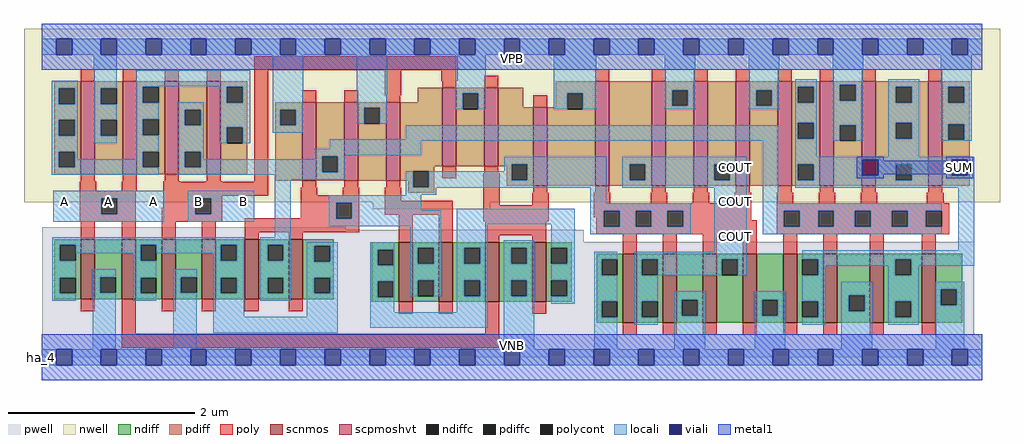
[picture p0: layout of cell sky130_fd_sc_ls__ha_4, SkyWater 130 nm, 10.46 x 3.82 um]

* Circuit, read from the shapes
.subckt sky130_fd_sc_ls__ha_4 A B VGND VNB VPB VPWR COUT SUM
XM1 VGND A n1 VNB sky130_fd_pr__nfet_01v8 w=0.64 l=0.15 m=2
XM2 VGND B n1 VNB sky130_fd_pr__nfet_01v8 w=0.64 l=0.15 m=2
XM3 n2 n3 n1 VNB sky130_fd_pr__nfet_01v8 w=0.64 l=0.15 m=2
XM4 n3 B n4 VNB sky130_fd_pr__nfet_01v8 w=0.64 l=0.15 m=2
XM5 VGND A n4 VNB sky130_fd_pr__nfet_01v8 w=0.64 l=0.15 m=2
XM6 COUT n3 VGND VNB sky130_fd_pr__nfet_01v8 w=0.74 l=0.15 m=4
XM7 SUM n2 VGND VNB sky130_fd_pr__nfet_01v8 w=0.74 l=0.15 m=4
XM8 VPWR A n5 VPB sky130_fd_pr__pfet_01v8_hvt w=1 l=0.15 m=2
XM9 n2 B n5 VPB sky130_fd_pr__pfet_01v8_hvt w=1 l=0.15 m=2
XM10 n2 n3 VPWR VPB sky130_fd_pr__pfet_01v8_hvt w=0.84 l=0.15 m=2
XM11 n3 B VPWR VPB sky130_fd_pr__pfet_01v8_hvt w=0.84 l=0.15 m=2
XM12 n3 A VPWR VPB sky130_fd_pr__pfet_01v8_hvt w=0.84 l=0.15 m=2
XM13 COUT n3 VPWR VPB sky130_fd_pr__pfet_01v8_hvt w=1.12 l=0.15 m=4
XM14 SUM n2 VPWR VPB sky130_fd_pr__pfet_01v8_hvt w=1.12 l=0.15 m=4
.ends

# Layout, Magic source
magic
tech sky130A
magscale 1 2
<< nwell >>
rect -38 332 2054 704
rect 709 317 961 332
<< pwell >>
rect 1 273 652 279
rect 1 248 1162 273
rect 1 49 1999 248
rect 0 0 2016 49
<< scnmos >>
rect 84 125 114 253
rect 171 125 201 253
rect 257 125 287 253
rect 343 125 373 253
rect 435 125 465 253
rect 529 125 559 253
rect 765 119 795 247
rect 851 119 881 247
rect 951 119 981 247
rect 1051 119 1081 247
rect 1245 74 1275 222
rect 1331 74 1361 222
rect 1417 74 1447 222
rect 1503 74 1533 222
rect 1589 74 1619 222
rect 1675 74 1705 222
rect 1775 74 1805 222
rect 1886 74 1916 222
<< scpmoshvt >>
rect 84 392 114 592
rect 174 392 204 592
rect 264 392 294 592
rect 354 392 384 592
rect 558 379 588 547
rect 648 379 678 547
rect 738 379 768 547
rect 859 410 889 578
rect 949 410 979 578
rect 1054 368 1084 536
rect 1186 368 1216 592
rect 1308 368 1338 592
rect 1398 368 1428 592
rect 1488 368 1518 592
rect 1578 368 1608 592
rect 1668 368 1698 592
rect 1758 368 1788 592
rect 1900 368 1930 592
<< ndiff >>
rect 27 241 84 253
rect 27 207 39 241
rect 73 207 84 241
rect 27 171 84 207
rect 27 137 39 171
rect 73 137 84 171
rect 27 125 84 137
rect 114 172 171 253
rect 114 138 125 172
rect 159 138 171 172
rect 114 125 171 138
rect 201 241 257 253
rect 201 207 212 241
rect 246 207 257 241
rect 201 171 257 207
rect 201 137 212 171
rect 246 137 257 171
rect 201 125 257 137
rect 287 172 343 253
rect 287 138 298 172
rect 332 138 343 172
rect 287 125 343 138
rect 373 241 435 253
rect 373 207 384 241
rect 418 207 435 241
rect 373 171 435 207
rect 373 137 384 171
rect 418 137 435 171
rect 373 125 435 137
rect 465 241 529 253
rect 465 207 484 241
rect 518 207 529 241
rect 465 171 529 207
rect 465 137 484 171
rect 518 137 529 171
rect 465 125 529 137
rect 559 239 626 253
rect 559 205 584 239
rect 618 205 626 239
rect 559 171 626 205
rect 559 137 584 171
rect 618 137 626 171
rect 559 125 626 137
rect 707 231 765 247
rect 707 197 720 231
rect 754 197 765 231
rect 707 163 765 197
rect 707 129 720 163
rect 754 129 765 163
rect 707 119 765 129
rect 795 235 851 247
rect 795 201 806 235
rect 840 201 851 235
rect 795 165 851 201
rect 795 131 806 165
rect 840 131 851 165
rect 795 119 851 131
rect 881 235 951 247
rect 881 201 906 235
rect 940 201 951 235
rect 881 165 951 201
rect 881 131 906 165
rect 940 131 951 165
rect 881 119 951 131
rect 981 235 1051 247
rect 981 201 1006 235
rect 1040 201 1051 235
rect 981 165 1051 201
rect 981 131 1006 165
rect 1040 131 1051 165
rect 981 119 1051 131
rect 1081 235 1136 247
rect 1081 201 1092 235
rect 1126 201 1136 235
rect 1081 165 1136 201
rect 1081 131 1092 165
rect 1126 131 1136 165
rect 1081 119 1136 131
rect 1190 210 1245 222
rect 1190 176 1200 210
rect 1234 176 1245 210
rect 1190 120 1245 176
rect 1190 86 1200 120
rect 1234 86 1245 120
rect 1190 74 1245 86
rect 1275 210 1331 222
rect 1275 176 1286 210
rect 1320 176 1331 210
rect 1275 120 1331 176
rect 1275 86 1286 120
rect 1320 86 1331 120
rect 1275 74 1331 86
rect 1361 123 1417 222
rect 1361 89 1372 123
rect 1406 89 1417 123
rect 1361 74 1417 89
rect 1447 210 1503 222
rect 1447 176 1458 210
rect 1492 176 1503 210
rect 1447 74 1503 176
rect 1533 123 1589 222
rect 1533 89 1544 123
rect 1578 89 1589 123
rect 1533 74 1589 89
rect 1619 210 1675 222
rect 1619 176 1630 210
rect 1664 176 1675 210
rect 1619 120 1675 176
rect 1619 86 1630 120
rect 1664 86 1675 120
rect 1619 74 1675 86
rect 1705 133 1775 222
rect 1705 99 1730 133
rect 1764 99 1775 133
rect 1705 74 1775 99
rect 1805 210 1886 222
rect 1805 176 1830 210
rect 1864 176 1886 210
rect 1805 120 1886 176
rect 1805 86 1830 120
rect 1864 86 1886 120
rect 1805 74 1886 86
rect 1916 146 1973 222
rect 1916 112 1927 146
rect 1961 112 1973 146
rect 1916 74 1973 112
<< pdiff >>
rect 27 577 84 592
rect 27 543 37 577
rect 71 543 84 577
rect 27 509 84 543
rect 27 475 37 509
rect 71 475 84 509
rect 27 441 84 475
rect 27 407 37 441
rect 71 407 84 441
rect 27 392 84 407
rect 114 577 174 592
rect 114 543 127 577
rect 161 543 174 577
rect 114 509 174 543
rect 114 475 127 509
rect 161 475 174 509
rect 114 392 174 475
rect 204 580 264 592
rect 204 546 217 580
rect 251 546 264 580
rect 204 510 264 546
rect 204 476 217 510
rect 251 476 264 510
rect 204 441 264 476
rect 204 407 217 441
rect 251 407 264 441
rect 204 392 264 407
rect 294 531 354 592
rect 294 497 307 531
rect 341 497 354 531
rect 294 441 354 497
rect 294 407 307 441
rect 341 407 354 441
rect 294 392 354 407
rect 384 580 441 592
rect 384 546 397 580
rect 431 546 441 580
rect 384 493 441 546
rect 384 459 397 493
rect 431 459 441 493
rect 384 392 441 459
rect 806 547 859 578
rect 501 531 558 547
rect 501 497 511 531
rect 545 497 558 531
rect 501 379 558 497
rect 588 431 648 547
rect 588 397 601 431
rect 635 397 648 431
rect 588 379 648 397
rect 678 535 738 547
rect 678 501 691 535
rect 725 501 738 535
rect 678 379 738 501
rect 768 410 859 547
rect 889 566 949 578
rect 889 532 902 566
rect 936 532 949 566
rect 889 410 949 532
rect 979 536 1032 578
rect 1102 566 1186 592
rect 1102 536 1126 566
rect 979 414 1054 536
rect 979 410 1007 414
rect 768 399 841 410
rect 768 379 796 399
rect 786 365 796 379
rect 830 365 841 399
rect 786 353 841 365
rect 997 380 1007 410
rect 1041 380 1054 414
rect 997 368 1054 380
rect 1084 532 1126 536
rect 1160 532 1186 566
rect 1084 368 1186 532
rect 1216 414 1308 592
rect 1216 380 1260 414
rect 1294 380 1308 414
rect 1216 368 1308 380
rect 1338 573 1398 592
rect 1338 539 1351 573
rect 1385 539 1398 573
rect 1338 368 1398 539
rect 1428 414 1488 592
rect 1428 380 1441 414
rect 1475 380 1488 414
rect 1428 368 1488 380
rect 1518 573 1578 592
rect 1518 539 1531 573
rect 1565 539 1578 573
rect 1518 368 1578 539
rect 1608 580 1668 592
rect 1608 546 1621 580
rect 1655 546 1668 580
rect 1608 503 1668 546
rect 1608 469 1621 503
rect 1655 469 1668 503
rect 1608 414 1668 469
rect 1608 380 1621 414
rect 1655 380 1668 414
rect 1608 368 1668 380
rect 1698 584 1758 592
rect 1698 550 1711 584
rect 1745 550 1758 584
rect 1698 498 1758 550
rect 1698 464 1711 498
rect 1745 464 1758 498
rect 1698 368 1758 464
rect 1788 580 1900 592
rect 1788 546 1831 580
rect 1865 546 1900 580
rect 1788 503 1900 546
rect 1788 469 1831 503
rect 1865 469 1900 503
rect 1788 414 1900 469
rect 1788 380 1831 414
rect 1865 380 1900 414
rect 1788 368 1900 380
rect 1930 580 1989 592
rect 1930 546 1943 580
rect 1977 546 1989 580
rect 1930 500 1989 546
rect 1930 466 1943 500
rect 1977 466 1989 500
rect 1930 368 1989 466
<< ndiffc >>
rect 39 207 73 241
rect 39 137 73 171
rect 125 138 159 172
rect 212 207 246 241
rect 212 137 246 171
rect 298 138 332 172
rect 384 207 418 241
rect 384 137 418 171
rect 484 207 518 241
rect 484 137 518 171
rect 584 205 618 239
rect 584 137 618 171
rect 720 197 754 231
rect 720 129 754 163
rect 806 201 840 235
rect 806 131 840 165
rect 906 201 940 235
rect 906 131 940 165
rect 1006 201 1040 235
rect 1006 131 1040 165
rect 1092 201 1126 235
rect 1092 131 1126 165
rect 1200 176 1234 210
rect 1200 86 1234 120
rect 1286 176 1320 210
rect 1286 86 1320 120
rect 1372 89 1406 123
rect 1458 176 1492 210
rect 1544 89 1578 123
rect 1630 176 1664 210
rect 1630 86 1664 120
rect 1730 99 1764 133
rect 1830 176 1864 210
rect 1830 86 1864 120
rect 1927 112 1961 146
<< pdiffc >>
rect 37 543 71 577
rect 37 475 71 509
rect 37 407 71 441
rect 127 543 161 577
rect 127 475 161 509
rect 217 546 251 580
rect 217 476 251 510
rect 217 407 251 441
rect 307 497 341 531
rect 307 407 341 441
rect 397 546 431 580
rect 397 459 431 493
rect 511 497 545 531
rect 601 397 635 431
rect 691 501 725 535
rect 902 532 936 566
rect 796 365 830 399
rect 1007 380 1041 414
rect 1126 532 1160 566
rect 1260 380 1294 414
rect 1351 539 1385 573
rect 1441 380 1475 414
rect 1531 539 1565 573
rect 1621 546 1655 580
rect 1621 469 1655 503
rect 1621 380 1655 414
rect 1711 550 1745 584
rect 1711 464 1745 498
rect 1831 546 1865 580
rect 1831 469 1865 503
rect 1831 380 1865 414
rect 1943 546 1977 580
rect 1943 466 1977 500
<< poly >>
rect 84 592 114 618
rect 174 592 204 618
rect 264 592 294 618
rect 354 592 384 618
rect 456 615 892 645
rect 84 377 114 392
rect 174 377 204 392
rect 264 377 294 392
rect 354 377 384 392
rect 81 357 117 377
rect 171 357 204 377
rect 261 376 297 377
rect 351 376 387 377
rect 456 376 486 615
rect 558 547 588 573
rect 648 547 678 573
rect 735 562 771 615
rect 856 593 892 615
rect 859 578 889 593
rect 949 578 979 604
rect 1186 592 1216 618
rect 1308 592 1338 618
rect 1398 592 1428 618
rect 1488 592 1518 618
rect 1578 592 1608 618
rect 1668 592 1698 618
rect 1758 592 1788 618
rect 1900 592 1930 618
rect 738 547 768 562
rect 1054 536 1084 562
rect 81 341 201 357
rect 81 307 128 341
rect 162 307 201 341
rect 261 346 486 376
rect 558 364 588 379
rect 648 364 678 379
rect 738 364 768 379
rect 859 384 889 410
rect 949 395 979 410
rect 555 347 591 364
rect 645 347 681 364
rect 261 341 387 346
rect 261 321 329 341
rect 81 291 201 307
rect 84 253 114 291
rect 171 253 201 291
rect 257 307 329 321
rect 363 307 387 341
rect 257 291 387 307
rect 555 331 681 347
rect 555 298 631 331
rect 435 297 631 298
rect 665 297 681 331
rect 735 336 771 364
rect 735 306 881 336
rect 257 253 287 291
rect 343 253 373 291
rect 435 268 681 297
rect 435 253 465 268
rect 529 253 559 268
rect 765 247 795 306
rect 851 247 881 306
rect 946 326 982 395
rect 1054 353 1084 368
rect 1186 353 1216 368
rect 1308 353 1338 368
rect 1398 353 1428 368
rect 1488 353 1518 368
rect 1578 353 1608 368
rect 1668 353 1698 368
rect 1758 353 1788 368
rect 1900 353 1930 368
rect 1051 326 1087 353
rect 946 292 1087 326
rect 1183 330 1219 353
rect 1305 330 1341 353
rect 1395 330 1431 353
rect 1485 330 1521 353
rect 1183 314 1521 330
rect 1183 300 1205 314
rect 951 262 1081 292
rect 1189 280 1205 300
rect 1239 280 1273 314
rect 1307 280 1341 314
rect 1375 294 1521 314
rect 1575 330 1611 353
rect 1665 330 1701 353
rect 1755 330 1791 353
rect 1897 330 1933 353
rect 1575 314 1945 330
rect 1375 280 1533 294
rect 1189 264 1533 280
rect 1575 280 1591 314
rect 1625 280 1664 314
rect 1698 280 1743 314
rect 1777 280 1822 314
rect 1856 280 1895 314
rect 1929 280 1945 314
rect 1575 264 1945 280
rect 951 247 981 262
rect 1051 247 1081 262
rect 84 99 114 125
rect 171 51 201 125
rect 257 99 287 125
rect 343 99 373 125
rect 435 99 465 125
rect 529 99 559 125
rect 1245 222 1275 264
rect 1331 222 1361 264
rect 1417 222 1447 264
rect 1503 222 1533 264
rect 1589 222 1619 264
rect 1675 222 1705 264
rect 1775 222 1805 264
rect 1886 222 1916 264
rect 765 93 795 119
rect 851 93 881 119
rect 951 51 981 119
rect 1051 93 1081 119
rect 171 21 981 51
rect 1245 48 1275 74
rect 1331 48 1361 74
rect 1417 48 1447 74
rect 1503 48 1533 74
rect 1589 48 1619 74
rect 1675 48 1705 74
rect 1775 48 1805 74
rect 1886 48 1916 74
<< polycont >>
rect 128 307 162 341
rect 329 307 363 341
rect 631 297 665 331
rect 1205 280 1239 314
rect 1273 280 1307 314
rect 1341 280 1375 314
rect 1591 280 1625 314
rect 1664 280 1698 314
rect 1743 280 1777 314
rect 1822 280 1856 314
rect 1895 280 1929 314
<< locali >>
rect 0 649 31 683
rect 65 649 127 683
rect 161 649 223 683
rect 257 649 319 683
rect 353 649 415 683
rect 449 649 511 683
rect 545 649 607 683
rect 641 649 703 683
rect 737 649 799 683
rect 833 649 895 683
rect 929 649 991 683
rect 1025 649 1087 683
rect 1121 649 1183 683
rect 1217 649 1279 683
rect 1313 649 1375 683
rect 1409 649 1471 683
rect 1505 649 1567 683
rect 1601 649 1663 683
rect 1697 649 1759 683
rect 1793 649 1855 683
rect 1889 649 1951 683
rect 1985 649 2016 683
rect 21 577 77 593
rect 21 543 37 577
rect 71 543 77 577
rect 21 509 77 543
rect 21 475 37 509
rect 71 475 77 509
rect 21 441 77 475
rect 111 577 161 649
rect 111 543 127 577
rect 111 509 161 543
rect 111 475 127 509
rect 111 459 161 475
rect 201 581 447 615
rect 201 580 251 581
rect 201 546 217 580
rect 381 580 447 581
rect 201 510 251 546
rect 201 476 217 510
rect 21 407 37 441
rect 71 425 77 441
rect 201 441 251 476
rect 201 425 217 441
rect 71 407 217 425
rect 21 391 251 407
rect 291 531 347 547
rect 291 497 307 531
rect 341 497 347 531
rect 291 441 347 497
rect 381 546 397 580
rect 431 546 447 580
rect 381 493 447 546
rect 381 459 397 493
rect 431 459 447 493
rect 495 531 561 649
rect 495 497 511 531
rect 545 497 561 531
rect 675 535 741 649
rect 675 501 691 535
rect 725 501 741 535
rect 886 566 952 649
rect 886 532 902 566
rect 936 532 952 566
rect 1098 566 1189 649
rect 1098 532 1126 566
rect 1160 532 1189 566
rect 1335 573 1401 649
rect 1335 539 1351 573
rect 1385 539 1401 573
rect 1335 532 1401 539
rect 1515 573 1581 649
rect 1515 539 1531 573
rect 1565 539 1581 573
rect 1515 532 1581 539
rect 1615 580 1661 596
rect 1615 546 1621 580
rect 1655 546 1661 580
rect 1615 503 1661 546
rect 495 481 561 497
rect 780 467 1579 498
rect 617 464 1579 467
rect 617 447 814 464
rect 291 407 307 441
rect 341 425 347 441
rect 585 433 814 447
rect 585 431 651 433
rect 585 425 601 431
rect 341 407 601 425
rect 291 397 601 407
rect 635 397 651 431
rect 991 414 1210 430
rect 991 399 1007 414
rect 291 391 651 397
rect 500 381 651 391
rect 25 341 263 357
rect 25 307 128 341
rect 162 307 263 341
rect 25 291 263 307
rect 313 341 455 357
rect 313 307 329 341
rect 363 307 455 341
rect 313 291 455 307
rect 500 257 534 381
rect 780 365 796 399
rect 830 380 1007 399
rect 1041 380 1210 414
rect 830 365 1210 380
rect 780 364 1210 365
rect 1244 414 1511 430
rect 1244 380 1260 414
rect 1294 380 1441 414
rect 1475 380 1511 414
rect 1244 364 1511 380
rect 780 349 846 364
rect 780 347 814 349
rect 615 331 814 347
rect 615 297 631 331
rect 665 315 814 331
rect 1176 330 1210 364
rect 665 297 856 315
rect 615 281 856 297
rect 23 241 434 257
rect 23 207 39 241
rect 73 223 212 241
rect 23 171 73 207
rect 196 207 212 223
rect 246 223 384 241
rect 23 137 39 171
rect 23 121 73 137
rect 109 172 159 189
rect 109 138 125 172
rect 109 17 159 138
rect 196 171 246 207
rect 368 207 384 223
rect 418 207 434 241
rect 196 137 212 171
rect 196 121 246 137
rect 282 172 332 189
rect 282 138 298 172
rect 282 17 332 138
rect 368 171 434 207
rect 368 137 384 171
rect 418 137 434 171
rect 368 87 434 137
rect 468 241 534 257
rect 468 207 484 241
rect 518 207 534 241
rect 468 171 534 207
rect 468 137 484 171
rect 518 137 534 171
rect 468 121 534 137
rect 568 239 634 247
rect 568 205 584 239
rect 618 205 634 239
rect 568 171 634 205
rect 568 137 584 171
rect 618 137 634 171
rect 568 87 634 137
rect 368 53 634 87
rect 704 231 756 247
rect 704 197 720 231
rect 754 197 756 231
rect 704 163 756 197
rect 704 129 720 163
rect 754 129 756 163
rect 790 235 856 281
rect 790 201 806 235
rect 840 201 856 235
rect 790 165 856 201
rect 790 131 806 165
rect 840 131 856 165
rect 890 285 1142 319
rect 890 235 956 285
rect 890 201 906 235
rect 940 201 956 235
rect 890 165 956 201
rect 890 131 906 165
rect 940 131 956 165
rect 704 97 756 129
rect 890 97 956 131
rect 704 63 956 97
rect 990 235 1056 251
rect 990 201 1006 235
rect 1040 201 1056 235
rect 990 165 1056 201
rect 990 131 1006 165
rect 1040 131 1056 165
rect 990 17 1056 131
rect 1092 235 1142 285
rect 1176 314 1391 330
rect 1176 280 1205 314
rect 1239 280 1273 314
rect 1307 280 1341 314
rect 1375 280 1391 314
rect 1176 264 1391 280
rect 1126 201 1142 235
rect 1442 226 1511 364
rect 1545 330 1579 464
rect 1615 469 1621 503
rect 1655 469 1661 503
rect 1615 430 1661 469
rect 1695 584 1761 649
rect 1695 550 1711 584
rect 1745 550 1761 584
rect 1695 498 1761 550
rect 1695 464 1711 498
rect 1745 464 1761 498
rect 1815 580 1881 596
rect 1815 546 1831 580
rect 1865 546 1881 580
rect 1815 503 1881 546
rect 1815 469 1831 503
rect 1865 469 1881 503
rect 1815 430 1881 469
rect 1927 580 1993 649
rect 1927 546 1943 580
rect 1977 546 1993 580
rect 1927 500 1993 546
rect 1927 466 1943 500
rect 1977 466 1993 500
rect 1927 464 1993 466
rect 1615 424 1999 430
rect 1615 414 1759 424
rect 1615 380 1621 414
rect 1655 390 1759 414
rect 1793 414 1951 424
rect 1793 390 1831 414
rect 1655 380 1831 390
rect 1865 390 1951 414
rect 1985 390 1999 424
rect 1865 380 1999 390
rect 1615 364 1999 380
rect 1545 314 1929 330
rect 1545 280 1591 314
rect 1625 280 1664 314
rect 1698 280 1743 314
rect 1777 280 1822 314
rect 1856 280 1895 314
rect 1545 264 1929 280
rect 1965 230 1999 364
rect 1092 165 1142 201
rect 1126 131 1142 165
rect 1092 115 1142 131
rect 1184 210 1234 226
rect 1184 176 1200 210
rect 1184 120 1234 176
rect 1184 86 1200 120
rect 1184 17 1234 86
rect 1270 210 1511 226
rect 1270 176 1286 210
rect 1320 176 1458 210
rect 1492 176 1511 210
rect 1630 210 1999 230
rect 1664 196 1830 210
rect 1664 176 1680 196
rect 1270 120 1320 176
rect 1270 86 1286 120
rect 1270 70 1320 86
rect 1356 123 1422 142
rect 1356 89 1372 123
rect 1406 89 1422 123
rect 1356 17 1422 89
rect 1528 123 1594 142
rect 1528 89 1544 123
rect 1578 89 1594 123
rect 1528 17 1594 89
rect 1630 120 1680 176
rect 1814 176 1830 196
rect 1864 196 1999 210
rect 1864 176 1880 196
rect 1664 86 1680 120
rect 1630 70 1680 86
rect 1714 133 1780 162
rect 1714 99 1730 133
rect 1764 99 1780 133
rect 1714 17 1780 99
rect 1814 120 1880 176
rect 1814 86 1830 120
rect 1864 86 1880 120
rect 1814 70 1880 86
rect 1916 146 1977 162
rect 1916 112 1927 146
rect 1961 112 1977 146
rect 1916 17 1977 112
rect 0 -17 31 17
rect 65 -17 127 17
rect 161 -17 223 17
rect 257 -17 319 17
rect 353 -17 415 17
rect 449 -17 511 17
rect 545 -17 607 17
rect 641 -17 703 17
rect 737 -17 799 17
rect 833 -17 895 17
rect 929 -17 991 17
rect 1025 -17 1087 17
rect 1121 -17 1183 17
rect 1217 -17 1279 17
rect 1313 -17 1375 17
rect 1409 -17 1471 17
rect 1505 -17 1567 17
rect 1601 -17 1663 17
rect 1697 -17 1759 17
rect 1793 -17 1855 17
rect 1889 -17 1951 17
rect 1985 -17 2016 17
<< viali >>
rect 31 649 65 683
rect 127 649 161 683
rect 223 649 257 683
rect 319 649 353 683
rect 415 649 449 683
rect 511 649 545 683
rect 607 649 641 683
rect 703 649 737 683
rect 799 649 833 683
rect 895 649 929 683
rect 991 649 1025 683
rect 1087 649 1121 683
rect 1183 649 1217 683
rect 1279 649 1313 683
rect 1375 649 1409 683
rect 1471 649 1505 683
rect 1567 649 1601 683
rect 1663 649 1697 683
rect 1759 649 1793 683
rect 1855 649 1889 683
rect 1951 649 1985 683
rect 1759 390 1793 424
rect 1951 390 1985 424
rect 31 -17 65 17
rect 127 -17 161 17
rect 223 -17 257 17
rect 319 -17 353 17
rect 415 -17 449 17
rect 511 -17 545 17
rect 607 -17 641 17
rect 703 -17 737 17
rect 799 -17 833 17
rect 895 -17 929 17
rect 991 -17 1025 17
rect 1087 -17 1121 17
rect 1183 -17 1217 17
rect 1279 -17 1313 17
rect 1375 -17 1409 17
rect 1471 -17 1505 17
rect 1567 -17 1601 17
rect 1663 -17 1697 17
rect 1759 -17 1793 17
rect 1855 -17 1889 17
rect 1951 -17 1985 17
<< metal1 >>
rect 0 683 2016 715
rect 0 649 31 683
rect 65 649 127 683
rect 161 649 223 683
rect 257 649 319 683
rect 353 649 415 683
rect 449 649 511 683
rect 545 649 607 683
rect 641 649 703 683
rect 737 649 799 683
rect 833 649 895 683
rect 929 649 991 683
rect 1025 649 1087 683
rect 1121 649 1183 683
rect 1217 649 1279 683
rect 1313 649 1375 683
rect 1409 649 1471 683
rect 1505 649 1567 683
rect 1601 649 1663 683
rect 1697 649 1759 683
rect 1793 649 1855 683
rect 1889 649 1951 683
rect 1985 649 2016 683
rect 0 617 2016 649
rect 1747 424 1805 430
rect 1747 390 1759 424
rect 1793 421 1805 424
rect 1939 424 1997 430
rect 1939 421 1951 424
rect 1793 393 1951 421
rect 1793 390 1805 393
rect 1747 384 1805 390
rect 1939 390 1951 393
rect 1985 390 1997 424
rect 1939 384 1997 390
rect 0 17 2016 49
rect 0 -17 31 17
rect 65 -17 127 17
rect 161 -17 223 17
rect 257 -17 319 17
rect 353 -17 415 17
rect 449 -17 511 17
rect 545 -17 607 17
rect 641 -17 703 17
rect 737 -17 799 17
rect 833 -17 895 17
rect 929 -17 991 17
rect 1025 -17 1087 17
rect 1121 -17 1183 17
rect 1217 -17 1279 17
rect 1313 -17 1375 17
rect 1409 -17 1471 17
rect 1505 -17 1567 17
rect 1601 -17 1663 17
rect 1697 -17 1759 17
rect 1793 -17 1855 17
rect 1889 -17 1951 17
rect 1985 -17 2016 17
rect 0 -49 2016 -17
<< labels >>
rlabel comment s 0 0 0 0 4 ha_4
flabel pwell s 0 0 2016 49 0 FreeSans 200 0 0 0 VNB
port 4 nsew ground bidirectional
flabel nwell s 0 617 2016 666 0 FreeSans 200 0 0 0 VPB
port 5 nsew power bidirectional
flabel metal1 s 1951 390 1985 424 0 FreeSans 340 0 0 0 SUM
port 8 nsew signal output
flabel metal1 s 0 617 2016 666 0 FreeSans 340 0 0 0 VPWR
port 6 nsew power bidirectional abutment
flabel metal1 s 0 0 2016 49 0 FreeSans 340 0 0 0 VGND
port 3 nsew ground bidirectional abutment
flabel locali s 1471 242 1505 276 0 FreeSans 340 0 0 0 COUT
port 7 nsew signal output
flabel locali s 1471 316 1505 350 0 FreeSans 340 0 0 0 COUT
port 7 nsew signal output
flabel locali s 1471 390 1505 424 0 FreeSans 340 0 0 0 COUT
port 7 nsew signal output
flabel locali s 319 316 353 350 0 FreeSans 340 0 0 0 B
port 2 nsew signal input
flabel locali s 415 316 449 350 0 FreeSans 340 0 0 0 B
port 2 nsew signal input
flabel locali s 31 316 65 350 0 FreeSans 340 0 0 0 A
port 1 nsew signal input
flabel locali s 127 316 161 350 0 FreeSans 340 0 0 0 A
port 1 nsew signal input
flabel locali s 223 316 257 350 0 FreeSans 340 0 0 0 A
port 1 nsew signal input
<< properties >>
string LEFsite unit
string LEFclass CORE
string FIXED_BBOX 0 0 2016 666
string GDS_FILE $PDKPATH/libs.ref/sky130_fd_sc_ls/gds/sky130_fd_sc_ls.gds
string LEFsymmetry X Y
string GDS_END 3908674
string GDS_START 3893618
<< end >>
